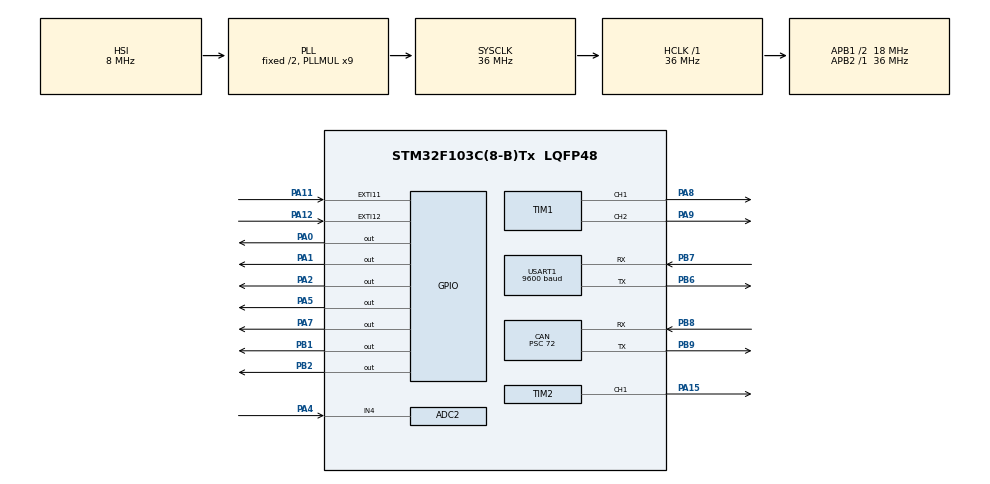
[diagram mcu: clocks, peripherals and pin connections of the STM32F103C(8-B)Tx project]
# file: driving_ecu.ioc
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ADC2.Channel-0\#ChannelRegularConversion=ADC_CHANNEL_4
ADC2.NbrOfConversionFlag=1
ADC2.Rank-0\#ChannelRegularConversion=1
ADC2.SamplingTime-0\#ChannelRegularConversion=ADC_SAMPLETIME_1CYCLE_5
CAN.BS1=CAN_BS1_2TQ
CAN.CalculateBaudRate=62500
CAN.CalculateTimeBit=16000
CAN.CalculateTimeQuantum=4000.0
CAN.Prescaler=72
Mcu.Family=STM32F1
Mcu.Name=STM32F103C(8-B)Tx
Mcu.Package=LQFP48
NVIC.ADC1_2_IRQn=true\:0\:0\:false\:false\:true\:true\:true\:true
NVIC.CAN1_RX1_IRQn=true\:0\:0\:false\:false\:true\:true\:true\:true
NVIC.EXTI15_10_IRQn=true\:0\:0\:false\:false\:true\:true\:true\:true
NVIC.PriorityGroup=NVIC_PRIORITYGROUP_4
NVIC.RCC_IRQn=true\:0\:0\:false\:false\:true\:true\:false\:true
NVIC.TIM2_IRQn=true\:0\:0\:false\:false\:true\:true\:true\:true
NVIC.USART1_IRQn=true\:0\:0\:false\:false\:true\:true\:true\:true
PA0-WKUP.Signal=GPIO_Output
PA1.Signal=GPIO_Output
PA11.Signal=GPXTI11
PA12.Signal=GPXTI12
PA13.Mode=Serial_Wire
PA13.Signal=SYS_JTMS-SWDIO
PA14.Mode=Serial_Wire
PA14.Signal=SYS_JTCK-SWCLK
PA15.Signal=S_TIM2_CH1_ETR
PA2.Signal=GPIO_Output
PA4.Signal=ADCx_IN4
PA5.Signal=GPIO_Output
PA7.GPIO_PuPd=GPIO_NOPULL
PA7.Signal=GPIO_Output
PA8.Signal=S_TIM1_CH1
PA9.Signal=S_TIM1_CH2
PB1.Signal=GPIO_Output
PB2.Signal=GPIO_Output
PB6.Mode=Asynchronous
PB6.Signal=USART1_TX
PB7.Mode=Asynchronous
PB7.Signal=USART1_RX
PB8.GPIO_PuPd=GPIO_PULLUP
PB8.Mode=CAN_Activate
PB8.Signal=CAN_RX
PB9.Mode=CAN_Activate
PB9.Signal=CAN_TX
PD0-OSC_IN.Mode=HSE-External-Oscillator
PD0-OSC_IN.Signal=RCC_OSC_IN
PD1-OSC_OUT.Mode=HSE-External-Oscillator
PD1-OSC_OUT.Signal=RCC_OSC_OUT
ProjectManager.HeapSize=0x200
ProjectManager.StackSize=0x400
ProjectManager.TargetToolchain=STM32CubeIDE
RCC.ADCPresc=RCC_ADCPCLK2_DIV4
RCC.AHBFreq_Value=36000000
RCC.APB1CLKDivider=RCC_HCLK_DIV2
RCC.APB1Freq_Value=18000000
RCC.APB1TimFreq_Value=36000000
RCC.APB2Freq_Value=36000000
RCC.APB2TimFreq_Value=36000000
RCC.HCLKFreq_Value=36000000
RCC.PLLMUL=RCC_PLL_MUL9
RCC.SYSCLKFreq_VALUE=36000000
RCC.SYSCLKSource=RCC_SYSCLKSOURCE_PLLCLK
RCC.USBFreq_Value=36000000
SH.ADCx_IN4.0=ADC2_IN4,IN4
SH.S_TIM1_CH1.0=TIM1_CH1,PWM Generation1 CH1
SH.S_TIM1_CH2.0=TIM1_CH2,PWM Generation2 CH2
SH.S_TIM2_CH1_ETR.0=TIM2_CH1,PWM Generation1 CH1
TIM1.Channel-PWM\ Generation1\ CH1=TIM_CHANNEL_1
TIM1.Channel-PWM\ Generation2\ CH2=TIM_CHANNEL_2
TIM2.Channel-PWM\ Generation1\ CH1=TIM_CHANNEL_1
USART1.BaudRate=9600
USART1.VirtualMode=VM_ASYNC
VP_TIM1_VS_ClockSourceINT.Mode=Internal
VP_TIM2_VS_ClockSourceINT.Mode=Internal
board=custom

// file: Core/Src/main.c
/* USER CODE BEGIN Header */
/**
 ******************************************************************************
 * @file           : main.c
 * @brief          : Main program body
 ******************************************************************************
 * @attention
 *
 * Copyright (c) 2025 STMicroelectronics.
 * All rights reserved.
 *
 * This software is licensed under terms that can be found in the LICENSE file
 * in the root directory of this software component.
 * If no LICENSE file comes with this software, it is provided AS-IS.
 *
 ******************************************************************************
 */
/* USER CODE END Header */
#include "main.h"

/* USER CODE BEGIN Includes */
#include "potentiometer.h"
/*
CAN_TxHeaderTypeDef TxHeader;
uint32_t TxMailbox;
uint8_t TxData[2]={"ST"}; //Transmitted data

CAN_FilterTypeDef sFilterConfig;
CAN_RxHeaderTypeDef RxHeader;
uint8_t RxData[3]={0}; //Received data
uint8_t delayLED = 0; //checking
void HAL_CAN_RxFifo1MsgPendingCallback(CAN_HandleTypeDef *hcan)
{
  HAL_CAN_GetRxMessage(hcan, CAN_RX_FIFO1, &RxHeader, RxData);
}
*/

//UART
uint8_t UARTmsg = 0;
uint8_t UARTreceived [4] = {0xFF,};

/* USER CODE END Includes */

/* USER CODE BEGIN PD */
// Define GPIO Pins
#define DIR_PIN GPIO_PIN_0
#define PUL_PIN GPIO_PIN_1
#define ENA_PIN GPIO_PIN_2
#define STEPPER_PORT GPIOA

#define CCW 0
#define CW 1

#define steer_CW_0    0
#define steer_CW_45   45
#define steer_CW_90   90
#define steer_CCW_90  180
#define steer_CCW_45  225

/* USER CODE END PD */

ADC_HandleTypeDef hadc2;

CAN_HandleTypeDef hcan;

TIM_HandleTypeDef htim1;
TIM_HandleTypeDef htim2;

UART_HandleTypeDef huart1;

void SystemClock_Config(void);
static void MX_GPIO_Init(void);
static void MX_TIM2_Init(void);
static void MX_TIM1_Init(void);
static void MX_CAN_Init(void);
static void MX_ADC2_Init(void);
static void MX_USART1_UART_Init(void);
/* USER CODE BEGIN PFP */
void Stepper_Init(void);
void Stepper_Step(uint16_t steps, uint16_t delay_us, uint8_t direction);
void drivingMotor_init (void);
void drivingMotor_dir(uint8_t direction);
void can_userInit (void);
void steeringMotor_init(void);
void steeringMotor_start(uint8_t angle);
/* USER CODE END PFP */

/* USER CODE BEGIN 0 */
uint16_t stSteeringAngle;

/* USER CODE END 0 */

int main(void)
{

  /* MCU Configuration--------------------------------------------------------*/

  /* Reset of all peripherals, Initializes the Flash interface and the Systick. */
  HAL_Init();

  /* Configure the system clock */
  SystemClock_Config();

  /* Initialize all configured peripherals */
  MX_GPIO_Init();
  MX_TIM2_Init();
  MX_TIM1_Init();
  MX_CAN_Init();
  MX_ADC2_Init();
  MX_USART1_UART_Init();
  /* USER CODE BEGIN 2 */
  drivingMotor_init();
  can_userInit();

  uint8_t speed;
  uint8_t Rx_MotorSpeed; // must be from 0 to 100 it is percentage from ARR
  uint8_t Rx_motorDir;
 // uint8_t Rx_stepperSteps ;
  uint8_t Rx_stepperDir; // 0 or 1
  // for steering
  uint8_t Rx_steeringangle;

 // int16_t rpm;

  HAL_ADC_Start_IT(&hadc2);
  int16_t resetPot= Potentiometer_GetAnglePerTurn();
  /* USER CODE END 2 */

  /* Infinite loop */
	while (1)
	{

    /* USER CODE BEGIN 3 */
		stSteeringAngle = Potentiometer_GetAnglePerTurn() - resetPot;   // 0–360
		UARTmsg[1]=stSteeringAngle;
		/*
		Rx_MotorSpeed= RxData[0];
		Rx_motorDir= RxData[1] && 0x01;
		Rx_stepperDir= RxData[2] ;
		Rx_steeringangle= RxData[3] ;
		 */
		Rx_MotorSpeed= UARTreceived[1];
		Rx_motorDir= RxData[2] && 0x01;
		Rx_stepperDir= RxData[3] ;
		Rx_steeringangle= RxData[4] ;
		UARTreceived

		drivingMotor_dir(Rx_motorDir);
		speed = (htim1.Instance->ARR + 1) * Rx_MotorSpeed / 100;
		__HAL_TIM_SET_COMPARE(&htim1,TIM_CHANNEL_2, speed);
		__HAL_TIM_SET_COMPARE(&htim1,TIM_CHANNEL_1, speed);
		HAL_Delay(100);

		steeringMotor_start(Rx_steeringangle);
		HAL_Delay(100);

		switch (Rx_stepperDir){

		case 1 : Stepper_Step(1000, 300, 0);
			break;
		case 2 : Stepper_Step(1000, 300, 1);
			break;
		default : Stepper_Step(0, 0, 0); //stop

		}
		HAL_Delay(100);
  }
  /* USER CODE END 3 */
}

void SystemClock_Config(void)
{
  RCC_OscInitTypeDef RCC_OscInitStruct = {0};
  RCC_ClkInitTypeDef RCC_ClkInitStruct = {0};
  RCC_PeriphCLKInitTypeDef PeriphClkInit = {0};

  /** Initializes the RCC Oscillators according to the specified parameters
  * in the RCC_OscInitTypeDef structure.
  */
  RCC_OscInitStruct.OscillatorType = RCC_OSCILLATORTYPE_HSI;
  RCC_OscInitStruct.HSIState = RCC_HSI_ON;
  RCC_OscInitStruct.HSICalibrationValue = RCC_HSICALIBRATION_DEFAULT;
  RCC_OscInitStruct.PLL.PLLState = RCC_PLL_ON;
  RCC_OscInitStruct.PLL.PLLSource = RCC_PLLSOURCE_HSI_DIV2;
  RCC_OscInitStruct.PLL.PLLMUL = RCC_PLL_MUL9;
  if (HAL_RCC_OscConfig(&RCC_OscInitStruct) != HAL_OK)
  {
    Error_Handler();
  }

  /** Initializes the CPU, AHB and APB buses clocks
  */
  RCC_ClkInitStruct.ClockType = RCC_CLOCKTYPE_HCLK|RCC_CLOCKTYPE_SYSCLK
                              |RCC_CLOCKTYPE_PCLK1|RCC_CLOCKTYPE_PCLK2;
  RCC_ClkInitStruct.SYSCLKSource = RCC_SYSCLKSOURCE_PLLCLK;
  RCC_ClkInitStruct.AHBCLKDivider = RCC_SYSCLK_DIV1;
  RCC_ClkInitStruct.APB1CLKDivider = RCC_HCLK_DIV2;
  RCC_ClkInitStruct.APB2CLKDivider = RCC_HCLK_DIV1;

  if (HAL_RCC_ClockConfig(&RCC_ClkInitStruct, FLASH_LATENCY_1) != HAL_OK)
  {
    Error_Handler();
  }
  PeriphClkInit.PeriphClockSelection = RCC_PERIPHCLK_ADC;
  PeriphClkInit.AdcClockSelection = RCC_ADCPCLK2_DIV4;
  if (HAL_RCCEx_PeriphCLKConfig(&PeriphClkInit) != HAL_OK)
  {
    Error_Handler();
  }
}

static void MX_ADC2_Init(void)
{

  ADC_ChannelConfTypeDef sConfig = {0};

  /** Common config
  */
  hadc2.Instance = ADC2;
  hadc2.Init.ScanConvMode = ADC_SCAN_DISABLE;
  hadc2.Init.ContinuousConvMode = DISABLE;
  hadc2.Init.DiscontinuousConvMode = DISABLE;
  hadc2.Init.ExternalTrigConv = ADC_SOFTWARE_START;
  hadc2.Init.DataAlign = ADC_DATAALIGN_RIGHT;
  hadc2.Init.NbrOfConversion = 1;
  if (HAL_ADC_Init(&hadc2) != HAL_OK)
  {
    Error_Handler();
  }

  /** Configure Regular Channel
  */
  sConfig.Channel = ADC_CHANNEL_4;
  sConfig.Rank = ADC_REGULAR_RANK_1;
  sConfig.SamplingTime = ADC_SAMPLETIME_1CYCLE_5;
  if (HAL_ADC_ConfigChannel(&hadc2, &sConfig) != HAL_OK)
  {
    Error_Handler();
  }

}

static void MX_CAN_Init(void)
{

  hcan.Instance = CAN1;
  hcan.Init.Prescaler = 72;
  hcan.Init.Mode = CAN_MODE_NORMAL;
  hcan.Init.SyncJumpWidth = CAN_SJW_1TQ;
  hcan.Init.TimeSeg1 = CAN_BS1_2TQ;
  hcan.Init.TimeSeg2 = CAN_BS2_1TQ;
  hcan.Init.TimeTriggeredMode = DISABLE;
  hcan.Init.AutoBusOff = DISABLE;
  hcan.Init.AutoWakeUp = DISABLE;
  hcan.Init.AutoRetransmission = DISABLE;
  hcan.Init.ReceiveFifoLocked = DISABLE;
  hcan.Init.TransmitFifoPriority = DISABLE;
  if (HAL_CAN_Init(&hcan) != HAL_OK)
  {
    Error_Handler();
  }

}

static void MX_TIM1_Init(void)
{

  TIM_ClockConfigTypeDef sClockSourceConfig = {0};
  TIM_MasterConfigTypeDef sMasterConfig = {0};
  TIM_OC_InitTypeDef sConfigOC = {0};
  TIM_BreakDeadTimeConfigTypeDef sBreakDeadTimeConfig = {0};

  htim1.Instance = TIM1;
  htim1.Init.Prescaler = 0;
  htim1.Init.CounterMode = TIM_COUNTERMODE_UP;
  htim1.Init.Period = 65535;
  htim1.Init.ClockDivision = TIM_CLOCKDIVISION_DIV1;
  htim1.Init.RepetitionCounter = 0;
  htim1.Init.AutoReloadPreload = TIM_AUTORELOAD_PRELOAD_DISABLE;
  if (HAL_TIM_Base_Init(&htim1) != HAL_OK)
  {
    Error_Handler();
  }
  sClockSourceConfig.ClockSource = TIM_CLOCKSOURCE_INTERNAL;
  if (HAL_TIM_ConfigClockSource(&htim1, &sClockSourceConfig) != HAL_OK)
  {
    Error_Handler();
  }
  if (HAL_TIM_PWM_Init(&htim1) != HAL_OK)
  {
    Error_Handler();
  }
  sMasterConfig.MasterOutputTrigger = TIM_TRGO_RESET;
  sMasterConfig.MasterSlaveMode = TIM_MASTERSLAVEMODE_DISABLE;
  if (HAL_TIMEx_MasterConfigSynchronization(&htim1, &sMasterConfig) != HAL_OK)
  {
    Error_Handler();
  }
  sConfigOC.OCMode = TIM_OCMODE_PWM1;
  sConfigOC.Pulse = 0;
  sConfigOC.OCPolarity = TIM_OCPOLARITY_HIGH;
  sConfigOC.OCNPolarity = TIM_OCNPOLARITY_HIGH;
  sConfigOC.OCFastMode = TIM_OCFAST_DISABLE;
  sConfigOC.OCIdleState = TIM_OCIDLESTATE_RESET;
  sConfigOC.OCNIdleState = TIM_OCNIDLESTATE_RESET;
  if (HAL_TIM_PWM_ConfigChannel(&htim1, &sConfigOC, TIM_CHANNEL_1) != HAL_OK)
  {
    Error_Handler();
  }
  if (HAL_TIM_PWM_ConfigChannel(&htim1, &sConfigOC, TIM_CHANNEL_2) != HAL_OK)
  {
    Error_Handler();
  }
  sBreakDeadTimeConfig.OffStateRunMode = TIM_OSSR_DISABLE;
  sBreakDeadTimeConfig.OffStateIDLEMode = TIM_OSSI_DISABLE;
  sBreakDeadTimeConfig.LockLevel = TIM_LOCKLEVEL_OFF;
  sBreakDeadTimeConfig.DeadTime = 0;
  sBreakDeadTimeConfig.BreakState = TIM_BREAK_DISABLE;
  sBreakDeadTimeConfig.BreakPolarity = TIM_BREAKPOLARITY_HIGH;
  sBreakDeadTimeConfig.AutomaticOutput = TIM_AUTOMATICOUTPUT_DISABLE;
  if (HAL_TIMEx_ConfigBreakDeadTime(&htim1, &sBreakDeadTimeConfig) != HAL_OK)
  {
    Error_Handler();
  }
  HAL_TIM_MspPostInit(&htim1);

}

static void MX_TIM2_Init(void)
{

  TIM_ClockConfigTypeDef sClockSourceConfig = {0};
  TIM_MasterConfigTypeDef sMasterConfig = {0};
  TIM_OC_InitTypeDef sConfigOC = {0};

  htim2.Instance = TIM2;
  htim2.Init.Prescaler = 0;
  htim2.Init.CounterMode = TIM_COUNTERMODE_UP;
  htim2.Init.Period = 65535;
  htim2.Init.ClockDivision = TIM_CLOCKDIVISION_DIV1;
  htim2.Init.AutoReloadPreload = TIM_AUTORELOAD_PRELOAD_DISABLE;
  if (HAL_TIM_Base_Init(&htim2) != HAL_OK)
  {
    Error_Handler();
  }
  sClockSourceConfig.ClockSource = TIM_CLOCKSOURCE_INTERNAL;
  if (HAL_TIM_ConfigClockSource(&htim2, &sClockSourceConfig) != HAL_OK)
  {
    Error_Handler();
  }
  if (HAL_TIM_PWM_Init(&htim2) != HAL_OK)
  {
    Error_Handler();
  }
  sMasterConfig.MasterOutputTrigger = TIM_TRGO_RESET;
  sMasterConfig.MasterSlaveMode = TIM_MASTERSLAVEMODE_DISABLE;
  if (HAL_TIMEx_MasterConfigSynchronization(&htim2, &sMasterConfig) != HAL_OK)
  {
    Error_Handler();
  }
  sConfigOC.OCMode = TIM_OCMODE_PWM1;
  sConfigOC.Pulse = 0;
  sConfigOC.OCPolarity = TIM_OCPOLARITY_HIGH;
  sConfigOC.OCFastMode = TIM_OCFAST_DISABLE;
  if (HAL_TIM_PWM_ConfigChannel(&htim2, &sConfigOC, TIM_CHANNEL_1) != HAL_OK)
  {
    Error_Handler();
  }
  HAL_TIM_MspPostInit(&htim2);

}

static void MX_USART1_UART_Init(void)
{

  huart1.Instance = USART1;
  huart1.Init.BaudRate = 9600;
  huart1.Init.WordLength = UART_WORDLENGTH_8B;
  huart1.Init.StopBits = UART_STOPBITS_1;
  huart1.Init.Parity = UART_PARITY_NONE;
  huart1.Init.Mode = UART_MODE_TX_RX;
  huart1.Init.HwFlowCtl = UART_HWCONTROL_NONE;
  huart1.Init.OverSampling = UART_OVERSAMPLING_16;
  if (HAL_UART_Init(&huart1) != HAL_OK)
  {
    Error_Handler();
  }

}

static void MX_GPIO_Init(void)
{
  GPIO_InitTypeDef GPIO_InitStruct = {0};

  /* GPIO Ports Clock Enable */
  __HAL_RCC_GPIOD_CLK_ENABLE();
  __HAL_RCC_GPIOA_CLK_ENABLE();
  __HAL_RCC_GPIOB_CLK_ENABLE();

  /*Configure GPIO pin Output Level */
  HAL_GPIO_WritePin(GPIOA, GPIO_PIN_0|GPIO_PIN_1|GPIO_PIN_2|GPIO_PIN_5
                          |GPIO_PIN_7, GPIO_PIN_RESET);

  /*Configure GPIO pin Output Level */
  HAL_GPIO_WritePin(GPIOB, GPIO_PIN_1|GPIO_PIN_2, GPIO_PIN_RESET);

  /*Configure GPIO pins : PA0 PA1 PA2 PA5
                           PA7 */
  GPIO_InitStruct.Pin = GPIO_PIN_0|GPIO_PIN_1|GPIO_PIN_2|GPIO_PIN_5
                          |GPIO_PIN_7;
  GPIO_InitStruct.Mode = GPIO_MODE_OUTPUT_PP;
  GPIO_InitStruct.Pull = GPIO_NOPULL;
  GPIO_InitStruct.Speed = GPIO_SPEED_FREQ_LOW;
  HAL_GPIO_Init(GPIOA, &GPIO_InitStruct);

  /*Configure GPIO pins : PB1 PB2 */
  GPIO_InitStruct.Pin = GPIO_PIN_1|GPIO_PIN_2;
  GPIO_InitStruct.Mode = GPIO_MODE_OUTPUT_PP;
  GPIO_InitStruct.Pull = GPIO_NOPULL;
  GPIO_InitStruct.Speed = GPIO_SPEED_FREQ_LOW;
  HAL_GPIO_Init(GPIOB, &GPIO_InitStruct);

  /*Configure GPIO pins : PA11 PA12 */
  GPIO_InitStruct.Pin = GPIO_PIN_11|GPIO_PIN_12;
  GPIO_InitStruct.Mode = GPIO_MODE_IT_RISING;
  GPIO_InitStruct.Pull = GPIO_NOPULL;
  HAL_GPIO_Init(GPIOA, &GPIO_InitStruct);

  /* EXTI interrupt init*/
  HAL_NVIC_SetPriority(EXTI15_10_IRQn, 0, 0);
  HAL_NVIC_EnableIRQ(EXTI15_10_IRQn);

}

/* USER CODE BEGIN 4 */
void Stepper_Init(void)
{
    HAL_GPIO_WritePin(STEPPER_PORT, ENA_PIN, GPIO_PIN_RESET); // Enable driver
}

void Stepper_Step(uint16_t steps, uint16_t delay_us, uint8_t direction)
{
	if (direction)
		HAL_GPIO_WritePin(STEPPER_PORT, DIR_PIN, GPIO_PIN_SET);
	else
		HAL_GPIO_WritePin(STEPPER_PORT, DIR_PIN, GPIO_PIN_RESET);

	for (uint16_t i = 0; i < steps; i++)
	{
		HAL_GPIO_WritePin(STEPPER_PORT, PUL_PIN, GPIO_PIN_SET);
		HAL_Delay(delay_us / 1000);
		HAL_GPIO_WritePin(STEPPER_PORT, PUL_PIN, GPIO_PIN_RESET);
		HAL_Delay(delay_us / 1000);
	}
}

void drivingMotor_init (void){
	  HAL_TIM_PWM_Start(&htim1, TIM_CHANNEL_2); //PA0 TIM1 CH2
	  HAL_TIM_PWM_Start(&htim1, TIM_CHANNEL_1); //PA0 TIM1 CH2
	  HAL_GPIO_WritePin(GPIOA, GPIO_PIN_7, 0);//direction left Motor
	  HAL_GPIO_WritePin(GPIOA, GPIO_PIN_5, 0);//direction Right Motor
}
void drivingMotor_dir(uint8_t direction){
	if(direction== CCW){
		  HAL_GPIO_WritePin(GPIOA, GPIO_PIN_7, 0);//direction left Motor
		  HAL_GPIO_WritePin(GPIOA, GPIO_PIN_5, 0);//direction Right Motor
	}
	else if (direction== CW){
		  HAL_GPIO_WritePin(GPIOA, GPIO_PIN_7, 1);//direction left Motor
		  HAL_GPIO_WritePin(GPIOA, GPIO_PIN_5, 1);//direction Right Motor
	}
}

void steeringMotor_init (void){
	  HAL_TIM_PWM_Start(&htim2, TIM_CHANNEL_1); //PA0 TIM2 CH1
	  HAL_GPIO_WritePin(GPIOB, GPIO_PIN_0, 0);
	  HAL_GPIO_WritePin(GPIOB, GPIO_PIN_1, 0);
}
void steeringMotor_start(uint8_t angle){
	uint8_t speed_steering = (htim2.Instance->ARR + 1) * 25 / 100;
	if(angle == steer_CW_0){
		  HAL_GPIO_WritePin(GPIOB, GPIO_PIN_0, 0);
		  HAL_GPIO_WritePin(GPIOB, GPIO_PIN_1, 0);
		  __HAL_TIM_SET_COMPARE(&htim2,TIM_CHANNEL_1, 0);
		  HAL_Delay(500);

	}
	else if (angle== steer_CW_45){
		  HAL_GPIO_WritePin(GPIOB, GPIO_PIN_0, 1);
		  HAL_GPIO_WritePin(GPIOB, GPIO_PIN_1, 0);
		  __HAL_TIM_SET_COMPARE(&htim2,TIM_CHANNEL_1, speed_steering);
		  HAL_Delay(500);
	}
	else if (angle == steer_CW_90 || angle == steer_CCW_90){
		  HAL_GPIO_WritePin(GPIOB, GPIO_PIN_0, 1);
		  HAL_GPIO_WritePin(GPIOB, GPIO_PIN_1, 0);
		  __HAL_TIM_SET_COMPARE(&htim2,TIM_CHANNEL_1, speed_steering);
		  HAL_Delay(1000);
	}
	else if (angle == steer_CW_90 || angle == steer_CCW_90){
		  HAL_GPIO_WritePin(GPIOB, GPIO_PIN_0, 1);
		  HAL_GPIO_WritePin(GPIOB, GPIO_PIN_1, 0);
		  __HAL_TIM_SET_COMPARE(&htim2,TIM_CHANNEL_1, speed_steering);
		  HAL_Delay(1000);
	}
	else if (angle == steer_CCW_45){
		  HAL_GPIO_WritePin(GPIOB, GPIO_PIN_0, 0);
		  HAL_GPIO_WritePin(GPIOB, GPIO_PIN_1, 1);
		  __HAL_TIM_SET_COMPARE(&htim2,TIM_CHANNEL_1, speed_steering);
		  HAL_Delay(500);
	}
}

/* USER CODE END 4 */

void Error_Handler(void)
{
	__disable_irq();
	while (1)
	{
	}
}
